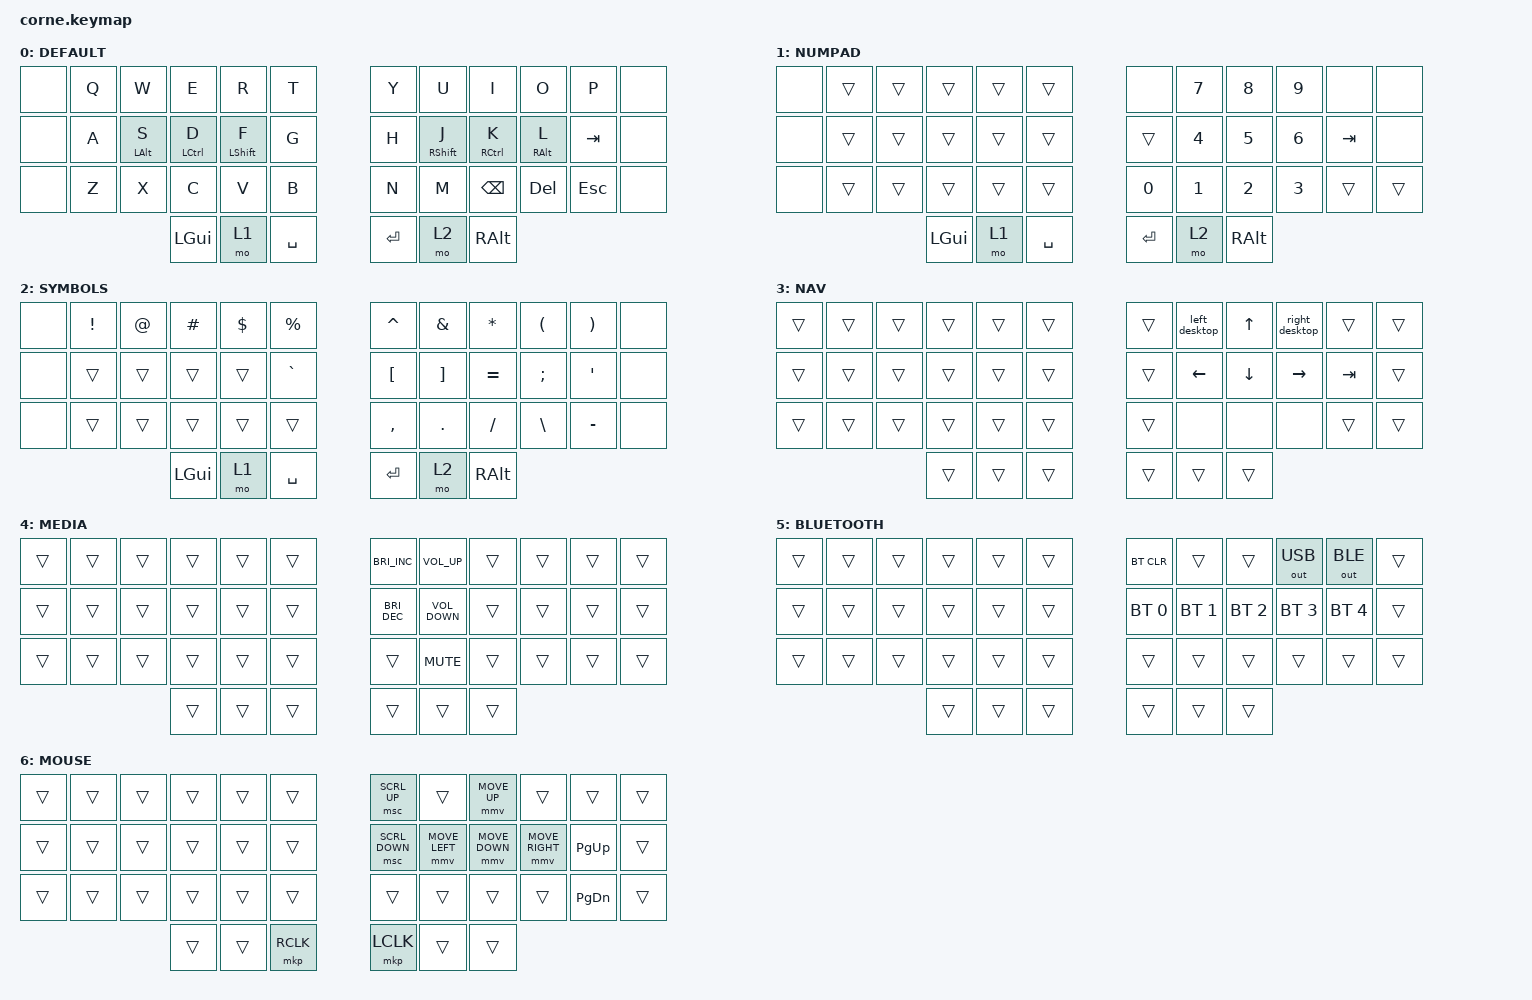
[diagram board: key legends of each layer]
/*
 * Copyright (c) 2020 The ZMK Contributors
 *
 * SPDX-License-Identifier: MIT
 */

#include <dt-bindings/zmk/mouse.h>

#define DEFAULT 0
#define NUMPAD 1
#define SYMBOLS 2
#define NAV 3
#define MEDIA 4
#define BLUETOOTH 5
#define MOUSE 6
#define MINECRAFT 7
#define ZMK_POINTING_DEFAULT_MOVE_VAL 1000  /* <--- New max speed setting (default: 600) */
#define ZMK_POINTING_DEFAULT_SCRL_VAL 50     /* <--- New max speed setting (default: 10) */

#include <behaviors.dtsi>
#include <dt-bindings/zmk/bt.h>
#include <dt-bindings/zmk/keys.h>
#include <dt-bindings/zmk/outputs.h>
#include <dt-bindings/zmk/pointing.h>

/ {
    combos {
        compatible = "zmk,combos";

        combo_layer_3 {
            bindings = <&mo 3>;
            key-positions = <2 3>;
            layers = <0 3>;
        };

        combo_layer_4 {
            bindings = <&mo 4>;
            key-positions = <3 4>;
            layers = <0 4>;
        };

        combo_layer_5 {
            bindings = <&mo 5>;
            key-positions = <26 27>;
            layers = <0 5>;
        };

        combo_layer_6 {
            bindings = <&mo 6>;
            key-positions = <27 28>;
            layers = <0 6>;
        };

        combo_caps_word {
            bindings = <&caps_word>;
            key-positions = <16 19>;
            layers = <0>;
        };

        new_combo {
            bindings = <&bt BT_CLR>;
            key-positions = <6 7>;
            layers = <5>;
        };

        minecraft_layer {
            bindings = <&tog 0>;
            key-positions = <5 6>;
        };
    };

    macros {
        right_desktop: right_desktop {
            compatible = "zmk,behavior-macro";
            label = "RIGHT_DESKTOP";
            #binding-cells = <0>;
            bindings =
                <&macro_press>,
                <&kp LGUI &kp LCTRL>,
                <&macro_tap>,
                <&kp RIGHT>,
                <&macro_release>,
                <&kp LGUI &kp LCTRL>;
        };

        left_desktop: left_desktop {
            compatible = "zmk,behavior-macro";
            label = "LEFT_DESKTOP";
            #binding-cells = <0>;
            bindings =
                <&macro_press>,
                <&kp LGUI &kp LCTRL>,
                <&macro_tap>,
                <&kp LEFT>,
                <&macro_release>,
                <&kp LGUI &kp LCTRL>;
        };
    };

    behaviors {
        hm: homerow_mods {
            compatible = "zmk,behavior-hold-tap";
            label = "HOMEROW_MODS";
            #binding-cells = <2>;
            tapping-term-ms = <200>;
            quick-tap-ms = <0>;
            flavor = "balanced";
            bindings = <&kp>, <&kp>;
        };
    };

    keymap {
        compatible = "zmk,keymap";

        DEFAULT {
            // -----------------------------------------------------------------------------------------
            // |  TAB |  Q  |  W  |  E  |  R  |  T  |   |  Y  |  U   |  I  |  O  |  P  | BKSP |
            // | CTRL |  A  |  S  |  D  |  F  |  G  |   |  H  |  J   |  K  |  L  |  ;  |  '   |
            // | SHFT |  Z  |  X  |  C  |  V  |  B  |   |  N  |  M   |  ,  |  .  |  /  | ESC  |
            //                    | GUI | LWR | SPC |   | ENT | RSE  | ALT |

            bindings = <
&none  &kp Q  &kp W       &kp E        &kp R         &kp T        &kp Y    &kp U        &kp I                &kp O            &kp P    &none
&none  &kp A  &hm LALT S  &hm LCTRL D  &hm LSHIFT F  &kp G        &kp H    &hm RSHFT J  &hm RIGHT_CONTROL K  &hm RIGHT_ALT L  &kp TAB  &none
&none  &kp Z  &kp X       &kp C        &kp V         &kp B        &kp N    &kp M        &kp BACKSPACE        &kp DELETE       &kp ESC  &none
                          &kp LGUI     &mo 1         &kp SPACE    &kp RET  &mo 2        &kp RALT
            >;
        };

        NUMPAD {
            // -----------------------------------------------------------------------------------------
            // |  TAB |  1  |  2  |  3  |  4  |  5  |   |  6  |  7  |  8  |  9  |  0  | BKSP |
            // | BTCLR| BT1 | BT2 | BT3 | BT4 | BT5 |   | LFT | DWN |  UP | RGT |     |      |
            // | SHFT |     |     |     |     |     |   |     |     |     |     |     |      |
            //                    | GUI |     | SPC |   | ENT |     | ALT |

            bindings = <
&none  &trans  &trans  &trans    &trans  &trans       &none         &kp NUMBER_7  &kp NUMBER_8  &kp NUMBER_9  &none    &none
&none  &trans  &trans  &trans    &trans  &trans       &trans        &kp NUMBER_4  &kp NUMBER_5  &kp NUMBER_6  &kp TAB  &none
&none  &trans  &trans  &trans    &trans  &trans       &kp NUMBER_0  &kp NUMBER_1  &kp NUMBER_2  &kp NUMBER_3  &trans   &trans
                       &kp LGUI  &mo 1   &kp SPACE    &kp RET       &mo 2         &kp RALT
            >;
        };

        SYMBOLS {
            // -----------------------------------------------------------------------------------------
            // |  TAB |  !  |  @  |  #  |  $  |  %  |   |  ^  |  &  |  *  |  (  |  )  | BKSP |
            // | CTRL |     |     |     |     |     |   |  -  |  =  |  [  |  ]  |  \  |  `   |
            // | SHFT |     |     |     |     |     |   |  _  |  +  |  {  |  }  | "|" |  ~   |
            //                    | GUI |     | SPC |   | ENT |     | ALT |

            bindings = <
&none  &kp EXCL  &kp AT  &kp HASH  &kp DLLR  &kp PRCNT    &kp CARET         &kp AMPS           &kp ASTERISK  &kp LPAR       &kp RPAR   &none
&none  &trans    &trans  &trans    &trans    &kp GRAVE    &kp LEFT_BRACKET  &kp RIGHT_BRACKET  &kp EQUAL     &kp SEMICOLON  &kp SQT    &none
&none  &trans    &trans  &trans    &trans    &trans       &kp COMMA         &kp PERIOD         &kp SLASH     &kp BACKSLASH  &kp MINUS  &none
                         &kp LGUI  &mo 1     &kp SPACE    &kp RET           &mo 2              &kp RALT
            >;
        };

        NAV {
            bindings = <
&trans  &trans  &trans  &trans  &trans  &trans    &trans  &left_desktop  &kp UP_ARROW  &right_desktop  &trans   &trans
&trans  &trans  &trans  &trans  &trans  &trans    &trans  &kp LEFT       &kp DOWN      &kp RIGHT       &kp TAB  &trans
&trans  &trans  &trans  &trans  &trans  &trans    &trans  &none          &none         &none           &trans   &trans
                        &trans  &trans  &trans    &trans  &trans         &trans
            >;
        };

        MEDIA {
            bindings = <
&trans  &trans  &trans  &trans  &trans  &trans    &kp C_BRIGHTNESS_INC  &kp C_VOLUME_UP    &trans  &trans  &trans  &trans
&trans  &trans  &trans  &trans  &trans  &trans    &kp C_BRIGHTNESS_DEC  &kp C_VOLUME_DOWN  &trans  &trans  &trans  &trans
&trans  &trans  &trans  &trans  &trans  &trans    &trans                &kp K_MUTE         &trans  &trans  &trans  &trans
                        &trans  &trans  &trans    &trans                &trans             &trans
            >;
        };

        BLUETOOTH {
            bindings = <
&trans  &trans  &trans  &trans  &trans  &trans    &bt BT_CLR    &trans        &trans        &out OUT_USB  &out OUT_BLE  &trans
&trans  &trans  &trans  &trans  &trans  &trans    &bt BT_SEL 0  &bt BT_SEL 1  &bt BT_SEL 2  &bt BT_SEL 3  &bt BT_SEL 4  &trans
&trans  &trans  &trans  &trans  &trans  &trans    &trans        &trans        &trans        &trans        &trans        &trans
                        &trans  &trans  &trans    &trans        &trans        &trans
            >;
        };

        MOUSE {
            bindings = <
&trans  &trans  &trans  &trans  &trans  &trans       &msc SCRL_UP    &trans          &mmv MOVE_UP    &trans           &trans         &trans
&trans  &trans  &trans  &trans  &trans  &trans       &msc SCRL_DOWN  &mmv MOVE_LEFT  &mmv MOVE_DOWN  &mmv MOVE_RIGHT  &kp PAGE_UP    &trans
&trans  &trans  &trans  &trans  &trans  &trans       &trans          &trans          &trans          &trans           &kp PAGE_DOWN  &trans
                        &trans  &trans  &mkp RCLK    &mkp LCLK       &trans          &trans
            >;
        };
    };
};
